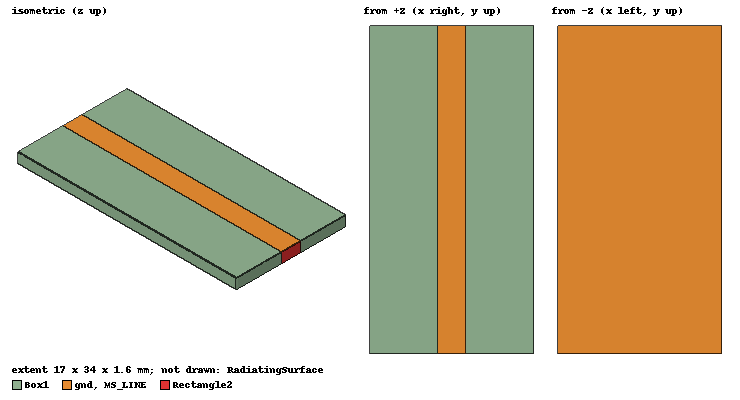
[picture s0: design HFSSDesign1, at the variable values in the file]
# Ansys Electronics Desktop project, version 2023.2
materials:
  vacuum: permittivity=1
  FR4_epoxy: permittivity=4.4 dielectric_loss_tangent=0.02

design HFSSDesign1 (HFSS, HFSS Terminal Network, model units mm)
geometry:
  Box1 [FR4_epoxy] = box(corner=(0mm, 0mm, 0mm), size=(17mm, 34mm, 1.6mm))
  gnd = rectangle(corner=(0mm, 0mm, 0mm), x_size=17mm, y_size=34mm)
  MS_LINE = rectangle(corner=(7mm, 0mm, 1.6mm), x_size=3mm, y_size=34mm)
  Rectangle2 = rectangle(corner=(10mm, 34mm, 1.6mm), z_size=-1.6mm, x_size=-3mm)
  Rectangle3 = rectangle(corner=(7mm, 0mm, 1.6mm), z_size=-1.6mm, x_size=3mm)
  RadiatingSurface [vacuum] = region(absolute_offset=41.666667mm on all sides)
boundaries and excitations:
  PerfE1: Perfect E Objects=gnd
  PerfE2: Perfect E Objects=MS_LINE
  Open1: Radiation Objects=RadiatingSurface
  1: Lumped Port Objects=Rectangle2 LumpedPortType=Modal Modes{Mode1{IntLine{(7.75, 34, 0) -> (8.5, 34, 1.6)} CharImp=Zpi RenormImp=50ohm}} Impedance=50ohm
  2: Lumped Port Objects=Rectangle3 LumpedPortType=Modal Modes{Mode1{IntLine{(7.75, 0, 0) -> (8.5, 0, 1.6)} CharImp=Zpi RenormImp=50ohm}} Impedance=50ohm
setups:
  Setup1: HfssDriven Frequency=5GHz MaxDeltaS=0.02 MaximumPasses=6 MinimumPasses=1 MinimumConvergedPasses=1 PercentRefinement=30 BasisOrder=1 PortAccuracy=2 DrivenSolverType="Direct Solver"
    sweep Sweep: 2.5GHz to 7.5GHz, 401 points; Type=Interpolating InterpTolerance=0.5 InterpMaxSolns=250 PassivityErrorTolerance=0.0001
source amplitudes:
  1:1: 1V 0deg
  2:1: 0V 0deg
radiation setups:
  3D: Infinite Sphere Theta=0deg..180deg step 2deg Phi=-180deg..180deg step 2deg
  Elevation: Infinite Sphere Theta=-180deg..180deg step 1deg Phi=0deg..90deg step 90deg
  Azimuth: Infinite Sphere Theta=90deg..90deg step 0deg Phi=-180deg..180deg step 1deg
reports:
  S Parameter Plot 1: dB(S(1,1)) vs Freq on Setup1 : Sweep
